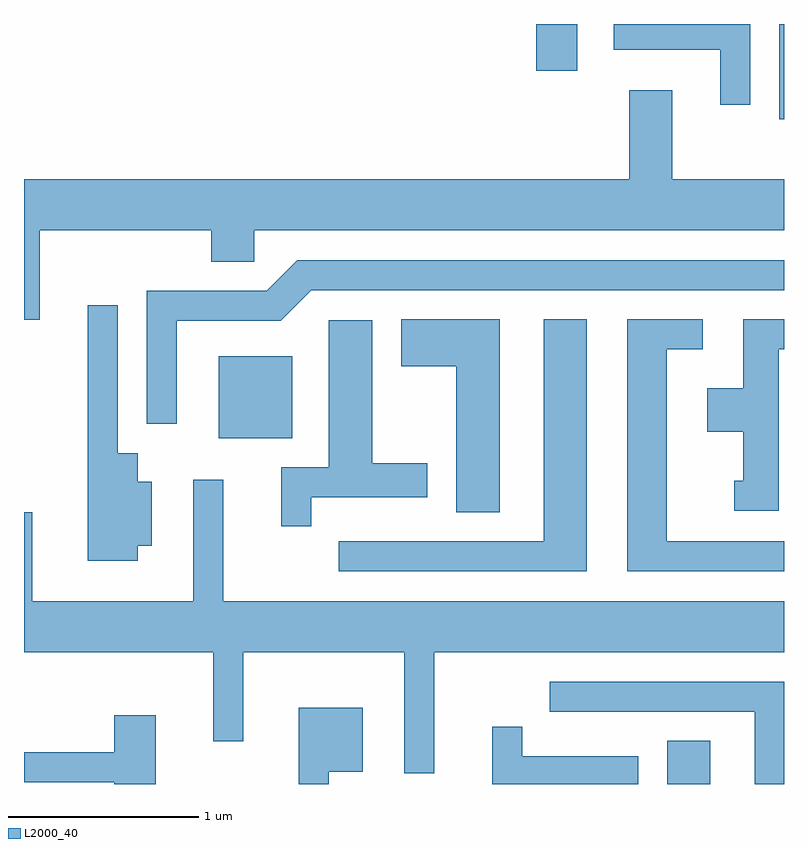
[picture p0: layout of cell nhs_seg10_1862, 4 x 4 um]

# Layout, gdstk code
import gdstk
lib = gdstk.Library(unit=1e-6, precision=1e-09)
def R(c, l, rs):  # rectangles x0, y0, x1, y1
    for r in rs: c.add(gdstk.rectangle(r[:2], r[2:], *l))
def P(c, l, *ps):  # polygons
    for p in ps: c.add(gdstk.Polygon(p, *l))
L2000_40 = (2000, 40)

nhs_seg10_1862 = lib.new_cell('nhs_seg10_1862')
R(nhs_seg10_1862, L2000_40, [(242.996,2146.522,243.224,2146.749), (240.636,2148.341,241.024,2148.774), (243.586,2150.021,243.611,2150.522), (242.306,2150.276,242.524,2150.522)])
P(nhs_seg10_1862, L2000_40, [(243.434,2150.522),(242.716,2150.522),(242.716,2150.386),(243.276,2150.386),(243.276,2150.098),(243.434,2150.098)],
  [(239.694,2149.436),(240.596,2149.436),(240.596,2149.271),(240.824,2149.271),(240.824,2149.436),(243.611,2149.436),(243.611,2149.704),(243.024,2149.704),(243.024,2150.174),(242.796,2150.174),(242.796,2149.704),(239.611,2149.704),(239.611,2148.966),(239.694,2148.966)],
  [(240.414,2148.961),(240.962,2148.961),(241.122,2149.121),(243.611,2149.121),(243.611,2149.279),(241.049,2149.279),(240.889,2149.119),(240.256,2149.119),(240.256,2148.418),(240.414,2148.418)],
  [(240.209,2147.776),(240.284,2147.776),(240.284,2148.114),(240.209,2148.114),(240.209,2148.264),(240.104,2148.264),(240.104,2149.043),(239.946,2149.043),(239.946,2147.696),(240.209,2147.696)],
  [(243.611,2147.799),(242.994,2147.799),(242.994,2148.811),(243.183,2148.811),(243.183,2148.969),(242.786,2148.969),(242.786,2147.641),(243.611,2147.641)],
  [(243.584,2148.811),(243.611,2148.811),(243.611,2148.969),(243.396,2148.969),(243.396,2148.604),(243.206,2148.604),(243.206,2148.376),(243.396,2148.376),(243.396,2148.119),(243.348,2148.119),(243.348,2147.961),(243.584,2147.961)],
  [(242.574,2148.969),(242.346,2148.969),(242.346,2147.799),(241.268,2147.799),(241.268,2147.641),(242.574,2147.641)],
  [(242.114,2148.969),(241.596,2148.969),(241.596,2148.721),(241.886,2148.721),(241.886,2147.951),(242.114,2147.951)],
  [(241.124,2148.031),(241.734,2148.031),(241.734,2148.209),(241.444,2148.209),(241.444,2148.964),(241.216,2148.964),(241.216,2148.189),(240.966,2148.189),(240.966,2147.878),(241.124,2147.878)],
  [(241.769,2147.216),(243.611,2147.216),(243.611,2147.484),(240.659,2147.484),(240.659,2148.123),(240.501,2148.123),(240.501,2147.484),(239.654,2147.484),(239.654,2147.953),(239.611,2147.953),(239.611,2147.216),(240.606,2147.216),(240.606,2146.748),(240.764,2146.748),(240.764,2147.216),(241.611,2147.216),(241.611,2146.578),(241.769,2146.578)],
  [(243.611,2147.059),(242.378,2147.059),(242.378,2146.901),(243.456,2146.901),(243.456,2146.522),(243.611,2146.522)],
  [(241.214,2146.586),(241.394,2146.586),(241.394,2146.924),(241.056,2146.924),(241.056,2146.522),(241.214,2146.522)],
  [(240.304,2146.884),(240.086,2146.884),(240.086,2146.689),(239.611,2146.689),(239.611,2146.531),(240.086,2146.531),(240.086,2146.522),(240.304,2146.522)],
  [(242.844,2146.669),(242.234,2146.669),(242.234,2146.823),(242.076,2146.823),(242.076,2146.522),(242.844,2146.522)])

lib.write_gds('nhs_seg10_1862.gds')
